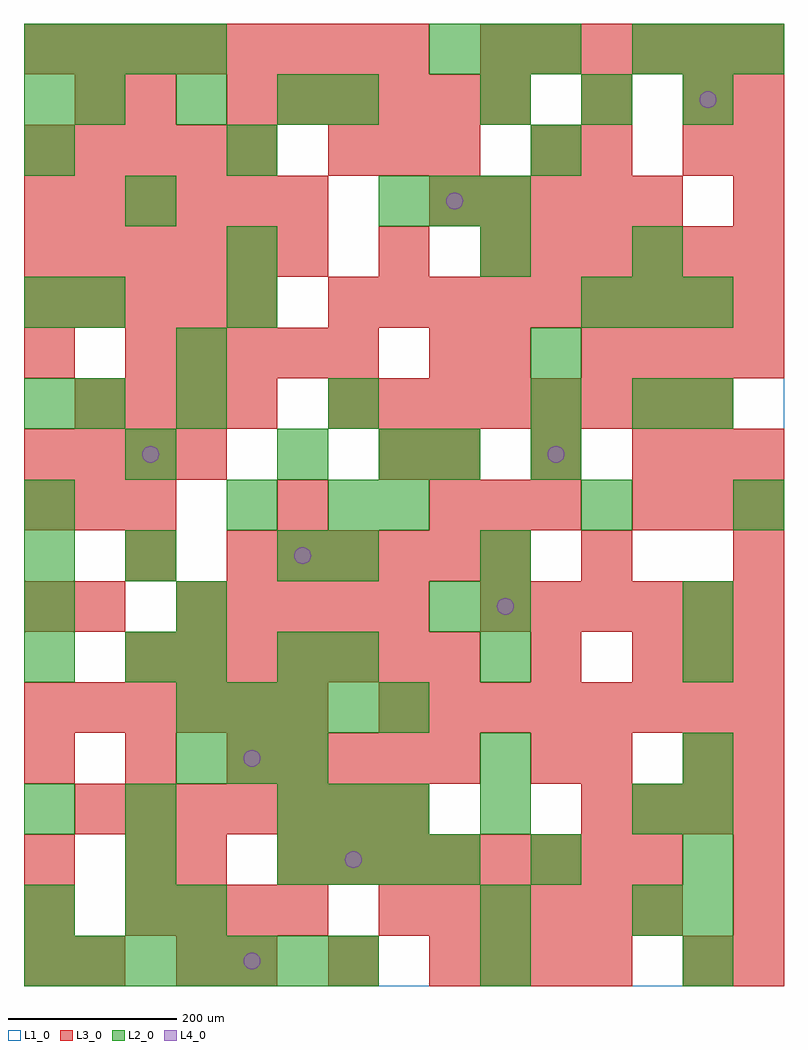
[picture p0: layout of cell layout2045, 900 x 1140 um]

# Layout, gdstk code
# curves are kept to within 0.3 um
import gdstk
lib = gdstk.Library(unit=1e-6, precision=1e-09)
def R(c, l, rs):  # rectangles x0, y0, x1, y1
    for r in rs: c.add(gdstk.rectangle(r[:2], r[2:], *l))
def A(c, l, x, y, w, h, nx, ny, dx, dy):  # array of equal rectangles
    R(c, l, [(x+i*dx, y+j*dy, x+i*dx+w, y+j*dy+h) for i in range(nx) for j in range(ny)])
def P(c, l, *ps):  # polygons
    for p in ps: c.add(gdstk.Polygon(p, *l))
L1_0 = (1, 0)
L2_0 = (2, 0)
L3_0 = (3, 0)
L4_0 = (4, 0)

layout2045 = lib.new_cell('layout2045')
R(layout2045, L1_0, [(0,0,900,1140)])
A(layout2045, L2_0, 0, 0, 60, 60, 7, 1, 60, 0)
A(layout2045, L2_0, 780, 0, 60, 60, 1, 5, 0, 60)
A(layout2045, L2_0, 120, 60, 60, 60, 1, 3, 0, 60)
A(layout2045, L2_0, 300, 120, 60, 60, 4, 1, 60, 0)
A(layout2045, L2_0, 300, 180, 60, 60, 3, 1, 60, 0)
A(layout2045, L2_0, 180, 240, 60, 60, 3, 1, 60, 0)
A(layout2045, L2_0, 180, 300, 60, 60, 5, 1, 60, 0)
A(layout2045, L2_0, 0, 360, 60, 60, 1, 4, 0, 60)
A(layout2045, L2_0, 120, 360, 60, 60, 1, 3, 0, 120)
A(layout2045, L2_0, 300, 360, 60, 60, 1, 3, 0, 120)
A(layout2045, L2_0, 540, 360, 60, 60, 1, 3, 0, 60)
A(layout2045, L2_0, 600, 600, 60, 60, 1, 3, 0, 60)
A(layout2045, L2_0, 660, 780, 60, 60, 3, 1, 60, 0)
A(layout2045, L2_0, 420, 900, 60, 60, 3, 1, 60, 0)
A(layout2045, L2_0, 60, 1020, 60, 60, 3, 1, 120, 0)
A(layout2045, L2_0, 540, 1020, 60, 60, 3, 1, 120, 0)
A(layout2045, L2_0, 0, 1080, 60, 60, 4, 1, 60, 0)
A(layout2045, L2_0, 480, 1080, 60, 60, 3, 1, 60, 0)
A(layout2045, L2_0, 720, 1080, 60, 60, 3, 1, 60, 0)
R(layout2045, L2_0, [(540,0,600,60), (0,60,60,120), (180,60,240,120), (540,60,600,120), (720,60,780,120), (600,120,660,180), (0,180,60,240), (540,180,600,240), (720,180,780,240), (540,240,600,300), (180,360,240,420), (360,360,420,420), (780,360,840,420), (180,420,240,480), (480,420,540,480), (780,420,840,480), (360,480,420,540), (240,540,300,600), (360,540,420,600), (420,540,480,600), (660,540,720,600), (840,540,900,600), (420,600,480,660), (480,600,540,660), (0,660,60,720), (60,660,120,720), (180,660,240,720), (360,660,420,720), (720,660,780,720), (780,660,840,720), (180,720,240,780), (0,780,60,840), (60,780,120,840), (240,780,300,840), (240,840,300,900), (540,840,600,900), (720,840,780,900), (120,900,180,960), (0,960,60,1020), (240,960,300,1020), (600,960,660,1020), (0,1020,60,1080), (360,1020,420,1080)])
A(layout2045, L3_0, 0, 0, 60, 60, 1, 3, 0, 60)
A(layout2045, L3_0, 240, 0, 60, 60, 3, 1, 120, 0)
A(layout2045, L3_0, 540, 0, 60, 60, 3, 1, 60, 0)
A(layout2045, L3_0, 840, 0, 60, 60, 1, 3, 0, 60)
A(layout2045, L3_0, 120, 60, 60, 60, 4, 1, 60, 0)
A(layout2045, L3_0, 420, 60, 60, 60, 6, 1, 60, 0)
A(layout2045, L3_0, 300, 120, 60, 60, 8, 1, 60, 0)
A(layout2045, L3_0, 60, 180, 60, 60, 7, 1, 60, 0)
A(layout2045, L3_0, 660, 180, 60, 60, 4, 2, 60, 540)
A(layout2045, L3_0, 0, 240, 60, 60, 3, 1, 120, 0)
A(layout2045, L3_0, 300, 240, 60, 60, 4, 1, 60, 0)
A(layout2045, L3_0, 780, 240, 60, 60, 1, 3, 0, 360)
A(layout2045, L3_0, 0, 300, 60, 60, 6, 2, 60, 540)
A(layout2045, L3_0, 420, 300, 60, 60, 8, 1, 60, 0)
A(layout2045, L3_0, 120, 360, 60, 60, 7, 1, 60, 0)
A(layout2045, L3_0, 720, 360, 60, 60, 3, 2, 60, 180)
A(layout2045, L3_0, 180, 420, 60, 60, 5, 1, 60, 0)
A(layout2045, L3_0, 540, 420, 60, 60, 6, 2, 60, 420)
A(layout2045, L3_0, 240, 480, 60, 60, 6, 2, 60, 540)
A(layout2045, L3_0, 0, 540, 60, 60, 3, 1, 60, 0)
A(layout2045, L3_0, 480, 540, 60, 60, 3, 1, 60, 0)
A(layout2045, L3_0, 0, 600, 60, 60, 4, 1, 60, 0)
A(layout2045, L3_0, 480, 600, 60, 60, 3, 1, 120, 0)
A(layout2045, L3_0, 60, 660, 60, 60, 4, 1, 60, 0)
A(layout2045, L3_0, 360, 660, 60, 60, 8, 1, 60, 0)
A(layout2045, L3_0, 120, 720, 60, 60, 5, 1, 60, 0)
A(layout2045, L3_0, 0, 780, 60, 60, 5, 2, 60, 180)
A(layout2045, L3_0, 360, 780, 60, 60, 9, 1, 60, 0)
A(layout2045, L3_0, 0, 900, 60, 60, 6, 1, 60, 0)
A(layout2045, L3_0, 480, 900, 60, 60, 5, 1, 60, 0)
A(layout2045, L3_0, 840, 900, 60, 60, 1, 3, 0, 60)
A(layout2045, L3_0, 360, 960, 60, 60, 3, 1, 60, 0)
A(layout2045, L3_0, 0, 1080, 60, 60, 8, 1, 60, 0)
A(layout2045, L3_0, 540, 1080, 60, 60, 6, 1, 60, 0)
R(layout2045, L3_0, [(60,0,120,60), (180,0,240,60), (780,0,840,60), (120,120,180,180), (180,120,240,180), (600,240,660,300), (660,240,720,300), (840,240,900,300), (600,360,660,420), (0,420,60,480), (60,420,120,480), (120,480,180,540), (660,480,720,540), (840,480,900,540), (300,540,360,600), (420,600,480,660), (840,600,900,660), (0,720,60,780), (480,720,540,780), (540,720,600,780), (420,840,480,900), (600,960,660,1020), (660,960,720,1020), (60,1020,120,1080), (120,1020,180,1080), (660,1020,720,1080), (780,1020,840,1080)])
P(layout2045, L4_0, [(160,630),(159.239,633.827),(157.071,637.071),(153.827,639.239),(150,640),(146.173,639.239),(142.929,637.071),(140.761,633.827),(140,630),(140.761,626.173),(142.929,622.929),(146.173,620.761),(150,620),(153.827,620.761),(157.071,622.929),(159.239,626.173)],
  [(280,30),(279.239,33.827),(277.071,37.071),(273.827,39.239),(270,40),(266.173,39.239),(262.929,37.071),(260.761,33.827),(260,30),(260.761,26.173),(262.929,22.929),(266.173,20.761),(270,20),(273.827,20.761),(277.071,22.929),(279.239,26.173)],
  [(280,270),(279.239,273.827),(277.071,277.071),(273.827,279.239),(270,280),(266.173,279.239),(262.929,277.071),(260.761,273.827),(260,270),(260.761,266.173),(262.929,262.929),(266.173,260.761),(270,260),(273.827,260.761),(277.071,262.929),(279.239,266.173)],
  [(340,510),(339.239,513.827),(337.071,517.071),(333.827,519.239),(330,520),(326.173,519.239),(322.929,517.071),(320.761,513.827),(320,510),(320.761,506.173),(322.929,502.929),(326.173,500.761),(330,500),(333.827,500.761),(337.071,502.929),(339.239,506.173)],
  [(400,150),(399.239,153.827),(397.071,157.071),(393.827,159.239),(390,160),(386.173,159.239),(382.929,157.071),(380.761,153.827),(380,150),(380.761,146.173),(382.929,142.929),(386.173,140.761),(390,140),(393.827,140.761),(397.071,142.929),(399.239,146.173)],
  [(520,930),(519.239,933.827),(517.071,937.071),(513.827,939.239),(510,940),(506.173,939.239),(502.929,937.071),(500.761,933.827),(500,930),(500.761,926.173),(502.929,922.929),(506.173,920.761),(510,920),(513.827,920.761),(517.071,922.929),(519.239,926.173)],
  [(580,450),(579.239,453.827),(577.071,457.071),(573.827,459.239),(570,460),(566.173,459.239),(562.929,457.071),(560.761,453.827),(560,450),(560.761,446.173),(562.929,442.929),(566.173,440.761),(570,440),(573.827,440.761),(577.071,442.929),(579.239,446.173)],
  [(640,630),(639.239,633.827),(637.071,637.071),(633.827,639.239),(630,640),(626.173,639.239),(622.929,637.071),(620.761,633.827),(620,630),(620.761,626.173),(622.929,622.929),(626.173,620.761),(630,620),(633.827,620.761),(637.071,622.929),(639.239,626.173)],
  [(820,1050),(819.239,1053.827),(817.071,1057.071),(813.827,1059.239),(810,1060),(806.173,1059.239),(802.929,1057.071),(800.761,1053.827),(800,1050),(800.761,1046.173),(802.929,1042.929),(806.173,1040.761),(810,1040),(813.827,1040.761),(817.071,1042.929),(819.239,1046.173)])

lib.write_gds('layout2045.gds')
